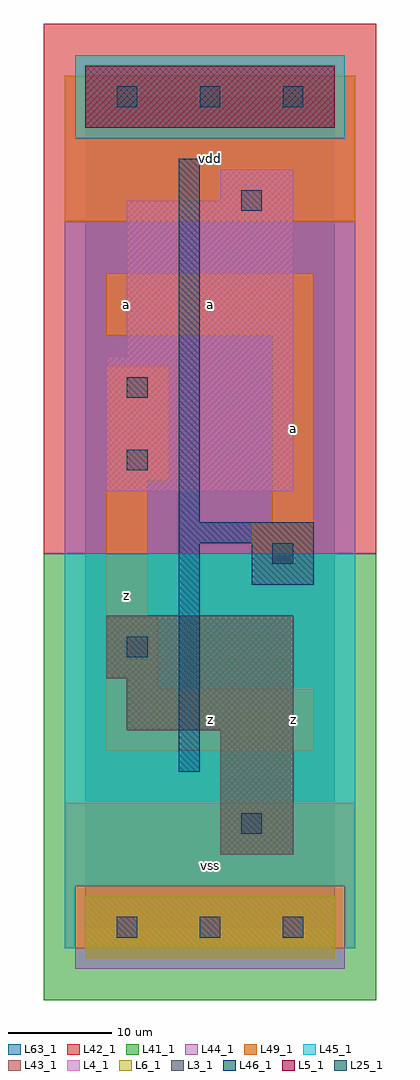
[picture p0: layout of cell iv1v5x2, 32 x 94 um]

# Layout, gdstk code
import gdstk
lib = gdstk.Library(unit=1e-6, precision=1e-09)
def R(c, l, rs):  # rectangles x0, y0, x1, y1
    for r in rs: c.add(gdstk.rectangle(r[:2], r[2:], *l))
def A(c, l, x, y, w, h, nx, ny, dx, dy):  # array of equal rectangles
    R(c, l, [(x+i*dx, y+j*dy, x+i*dx+w, y+j*dy+h) for i in range(nx) for j in range(ny)])
L3_1 = (3, 1)
L4_1 = (4, 1)
L5_1 = (5, 1)
L6_1 = (6, 1)
L25_1 = (25, 1)
L41_1 = (41, 1)
L42_1 = (42, 1)
L43_1 = (43, 1)
L44_1 = (44, 1)
L45_1 = (45, 1)
L46_1 = (46, 1)
L49_1 = (49, 1)
L63_1 = (63, 1)

iv1v5x2 = lib.new_cell('iv1v5x2')
R(iv1v5x2, L3_1, [(13,7,20,19), (4,19,20,24), (2,24,20,30)])
R(iv1v5x2, L4_1, [(2,42,20,55), (4,55,20,70), (13,70,20,73)])
R(iv1v5x2, L5_1, [(0,77,24,83)])
R(iv1v5x2, L6_1, [(0,-3,24,3), (0,-3,24,3)])
A(iv1v5x2, L25_1, 3, -1, 2, 2, 3, 2, 8, 80)
R(iv1v5x2, L25_1, [(15,9,17,11), (4,26,6,28), (18,35,20,37), (4,44,6,46), (4,51,6,53), (15,69,17,71)])
R(iv1v5x2, L41_1, [(-4,-7,28,36)])
R(iv1v5x2, L42_1, [(-4,36,28,87)])
R(iv1v5x2, L43_1, [(0,-3,24,3), (13,7,20,19), (4,19,20,24), (2,24,20,30), (2,42,20,55), (4,55,20,70), (13,70,20,73), (0,77,24,83)])
R(iv1v5x2, L44_1, [(-1,-4,25,4), (-2,36,26,76), (-2,76,-1,82), (25,76,26,82)])
R(iv1v5x2, L45_1, [(-2,-2,-1,4), (25,-2,26,4), (-2,4,26,36), (-1,76,25,84)])
R(iv1v5x2, L46_1, [(9,15,11,37), (16,33,22,37), (9,37,22,39), (9,39,11,74)])
R(iv1v5x2, L49_1, [(-2,-2,26,12), (2,17,22,23), (2,23,7,30), (2,30,6,43), (16,33,22,39), (18,39,22,57), (2,43,8,54), (2,57,22,63), (-2,68,26,82)])
R(iv1v5x2, L63_1, [(0,0,24,80)])
iv1v5x2.add(gdstk.Label('z', (4,32), layer=49, texttype=1))
iv1v5x2.add(gdstk.Label('a', (4,60), layer=49, texttype=1))
iv1v5x2.add(gdstk.Label('vss', (12,6), layer=49, texttype=1))
iv1v5x2.add(gdstk.Label('z', (12,20), layer=49, texttype=1))
iv1v5x2.add(gdstk.Label('a', (12,60), layer=49, texttype=1))
iv1v5x2.add(gdstk.Label('vdd', (12,74), layer=49, texttype=1))
iv1v5x2.add(gdstk.Label('z', (20,20), layer=49, texttype=1))
iv1v5x2.add(gdstk.Label('a', (20,48), layer=49, texttype=1))

lib.write_gds('iv1v5x2.gds')
